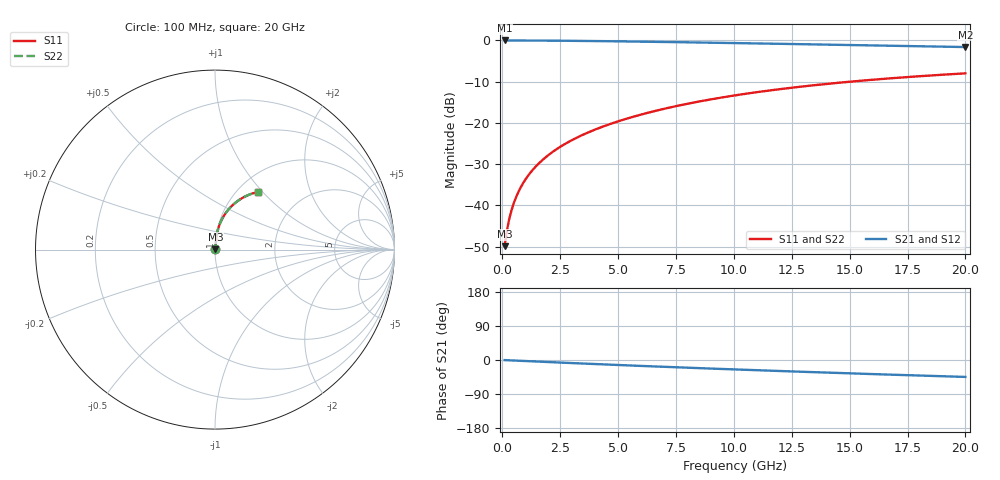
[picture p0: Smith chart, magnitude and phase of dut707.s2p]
! Touchstone file exported from HFSS 2024.1.0
!  File:  C:/UserFiles/LocalFiles/RDL_TSV_Batchsim/temp_RDL_bottom_707_1779857846.aedt
!  Generated:  01:00:04 PM May 27, 2026
!  Design:  RDL_bottom
!  Project:  temp_RDL_bottom_707_1779857846
!  Setup:  Setup1
!  Solution:  Sweep
! Variables:
!  dtsv = 10.80580581um
!  hbump = 3um
!  htsv = 98.03um
!  ldown = 623.84um
!  lrdl = 100um
!  p = 40
!  p1 = 55.7um
!  rhole = 1um
!  t = 450um
!  tdown = 4.56um
!  trdl = 3.915915916um
!  wdown = 22.36um
!  wrdl = 20um
# GHz S MA R 50.000000
! Terminal data exported
! Port[1] = RDL1_T1
! Port[2] = RDL1_T2
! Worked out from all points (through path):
!   200 points, 100 MHz to 20 GHz, reference 50 ohm
!   highest |S21| = -0.02 dB at 100 MHz (marker M1); lowest = -1.6 dB at 20 GHz (marker M2)
!   group delay of S21, straight-line fit = 6.16 ps
!   lowest |S11| = -49.9 dB at 100 MHz (marker M3), VSWR 1.01, Z = 50.2 + j0.222 ohm
!   |S11| at or under -10 dB: start of sweep to 15.04 GHz
!   |S22| runs from -49.9 to -8.0 dB; largest |S21 - S12| = 1.4e-14
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0.1  0.003216 43.4  0.9977 -0.3  0.9977 -0.3  0.003216 43.4
! Gamma 0 0 0 0
! Port Impedance 50 0 50 0
0.2  0.00498 60.1  0.9975 -0.6  0.9975 -0.6  0.00498 60.1
0.3  0.00687 67.7  0.9973 -0.8  0.9973 -0.8  0.00687 67.7
0.4  0.008791 72.0  0.9972 -1.1  0.9972 -1.1  0.008791 72.0
0.5  0.01073 74.9  0.997 -1.4  0.997 -1.4  0.01073 74.9
0.6  0.01269 76.9  0.9969 -1.7  0.9969 -1.7  0.01269 76.9
0.8  0.01666 79.6  0.9965 -2.2  0.9965 -2.2  0.01666 79.6
1.1  0.02267 81.7  0.9958 -3.0  0.9958 -3.0  0.02267 81.8
1.5  0.03077 83.2  0.9947 -4.1  0.9947 -4.1  0.03077 83.2
1.8  0.03689 83.7  0.9936 -4.9  0.9936 -4.9  0.0369 83.7
2.1  0.04305 84.0  0.9923 -5.7  0.9923 -5.7  0.04305 84.0
2.7  0.05547 84.1  0.9894 -7.3  0.9894 -7.3  0.05548 84.1
3.5  0.07227 83.7  0.9846 -9.4  0.9846 -9.4  0.07228 83.7
4.2  0.08719 83.1  0.9797 -11.2  0.9797 -11.2  0.08721 83.1
5  0.1045 82.2  0.9736 -13.2  0.9736 -13.2  0.1045 82.2
6.8  0.1441 79.5  0.9582 -17.6  0.9582 -17.6  0.1442 79.5
8.4  0.1796 76.6  0.9435 -21.3  0.9435 -21.3  0.1797 76.6
10.1  0.2168 73.3  0.9271 -25.0  0.9271 -25.0  0.2169 73.3
11.7  0.2506 70.0  0.9115 -28.5  0.9115 -28.5  0.2508 70.0
13.4  0.285 66.5  0.8947 -32.0  0.8947 -32.0  0.2851 66.5
16.7  0.3459 59.8  0.862 -38.5  0.862 -38.5  0.3461 59.8
20  0.3987 53.5  0.83 -44.7  0.83 -44.7  0.3989 53.5
